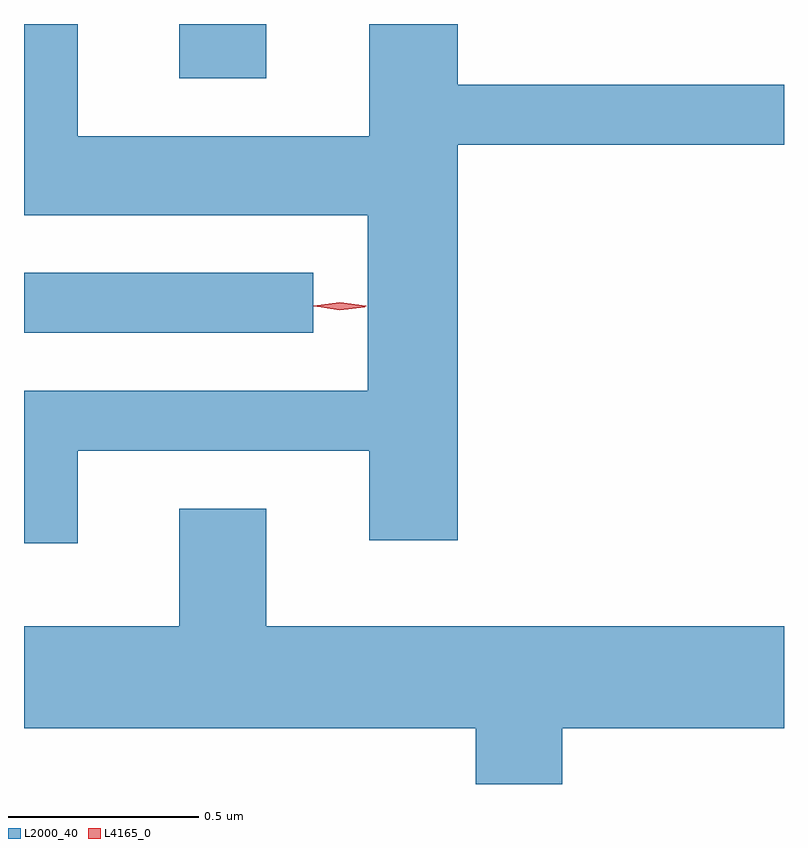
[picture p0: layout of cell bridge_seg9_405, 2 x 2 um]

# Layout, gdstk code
import gdstk
lib = gdstk.Library(unit=1e-6, precision=1e-09)
def R(c, l, rs):  # rectangles x0, y0, x1, y1
    for r in rs: c.add(gdstk.rectangle(r[:2], r[2:], *l))
def P(c, l, *ps):  # polygons
    for p in ps: c.add(gdstk.Polygon(p, *l))
L2000_40 = (2000, 40)
L4165_0 = (4165, 0)

bridge_seg9_405 = lib.new_cell('bridge_seg9_405')
R(bridge_seg9_405, L2000_40, [(1020.212,1948.456,1020.973,1948.614), (1020.621,1949.126,1020.849,1949.269)])
P(bridge_seg9_405, L2000_40, [(1020.354,1948.146),(1021.121,1948.146),(1021.121,1947.911),(1021.354,1947.911),(1021.354,1948.951),(1022.212,1948.951),(1022.212,1949.109),(1021.354,1949.109),(1021.354,1949.269),(1021.121,1949.269),(1021.121,1948.974),(1020.354,1948.974),(1020.354,1949.269),(1020.212,1949.269),(1020.212,1948.766),(1021.116,1948.766),(1021.116,1948.304),(1020.212,1948.304),(1020.212,1947.903),(1020.354,1947.903)],
  [(1021.629,1947.416),(1022.212,1947.416),(1022.212,1947.684),(1020.849,1947.684),(1020.849,1947.994),(1020.621,1947.994),(1020.621,1947.684),(1020.212,1947.684),(1020.212,1947.416),(1021.401,1947.416),(1021.401,1947.269),(1021.629,1947.269)])
P(bridge_seg9_405, L4165_0, [(1021.043,1948.517),(1020.974,1948.526),(1020.973,1948.527),(1020.974,1948.528),(1021.043,1948.537),(1021.112,1948.527),(1021.113,1948.526),(1021.112,1948.526)],
  [(1021.043,1948.516),(1020.977,1948.526),(1020.977,1948.527),(1020.977,1948.528),(1021.043,1948.536),(1021.109,1948.525),(1021.109,1948.524),(1021.109,1948.524)])

lib.write_gds('bridge_seg9_405.gds')
